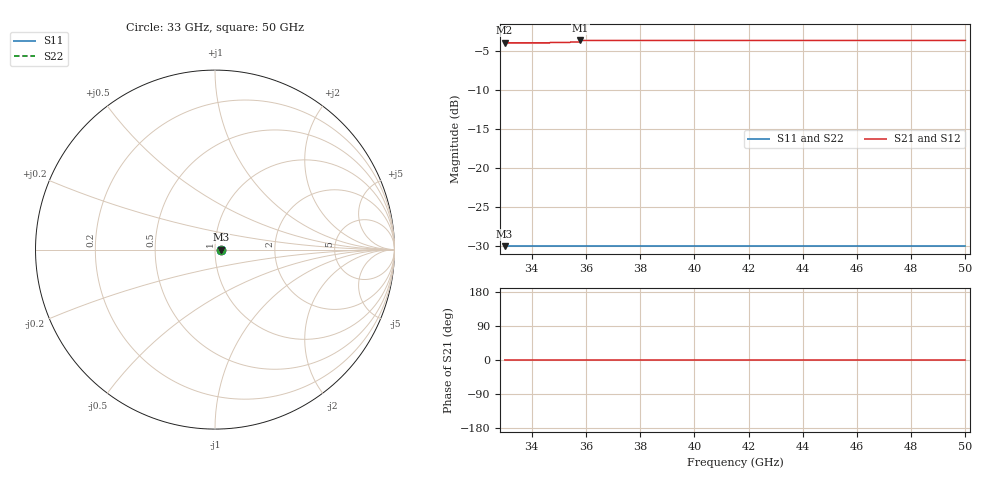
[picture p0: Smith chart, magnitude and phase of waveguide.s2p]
# Ghz S DB R 50
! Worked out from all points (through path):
!   1001 points, 33 GHz to 50 GHz, reference 50 ohm
!   highest |S21| = -3.70 dB at 35.79 GHz (marker M1); lowest = -4.0 dB at 33 GHz (marker M2)
!   lowest |S11| = -30.0 dB at 33 GHz (marker M3), VSWR 1.07, Z = 53.3 + j0 ohm
!   |S11| at or under -10 dB: start of sweep to end of sweep
!   |S22| runs from -30.0 to -30.0 dB; largest |S21 - S12| = 0
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33  -30.00 0.0  -4.00 0.0  -4.00 0.0  -30.00 0.0
34.581  -30.00 0.0  -4.00 0.0  -4.00 0.0  -30.00 0.0
34.615  -30.00 0.0  -4.00 0.0  -4.00 0.0  -30.00 0.0
34.649  -30.00 0.0  -4.00 0.0  -4.00 0.0  -30.00 0.0
34.666  -30.00 0.0  -4.00 0.0  -4.00 0.0  -30.00 0.0
34.768  -30.00 0.0  -3.95 0.0  -3.95 0.0  -30.00 0.0
35.329  -30.00 0.0  -3.95 0.0  -3.95 0.0  -30.00 0.0
35.363  -30.00 0.0  -3.95 0.0  -3.95 0.0  -30.00 0.0
35.397  -30.00 0.0  -3.95 0.0  -3.95 0.0  -30.00 0.0
35.448  -30.00 0.0  -3.90 0.0  -3.90 0.0  -30.00 0.0
35.516  -30.00 0.0  -3.90 0.0  -3.90 0.0  -30.00 0.0
35.686  -30.00 0.0  -3.90 0.0  -3.90 0.0  -30.00 0.0
35.72  -30.00 0.0  -3.90 0.0  -3.90 0.0  -30.00 0.0
35.788  -30.00 0.0  -3.70 0.0  -3.70 0.0  -30.00 0.0
35.805  -30.00 0.0  -3.70 0.0  -3.70 0.0  -30.00 0.0
35.839  -30.00 0.0  -3.70 0.0  -3.70 0.0  -30.00 0.0
35.873  -30.00 0.0  -3.70 0.0  -3.70 0.0  -30.00 0.0
38.678  -30.00 0.0  -3.70 0.0  -3.70 0.0  -30.00 0.0
41.5  -30.00 0.0  -3.70 0.0  -3.70 0.0  -30.00 0.0
44.339  -30.00 0.0  -3.70 0.0  -3.70 0.0  -30.00 0.0
47.178  -30.00 0.0  -3.70 0.0  -3.70 0.0  -30.00 0.0
50  -30.00 0.0  -3.70 0.0  -3.70 0.0  -30.00 0.0
